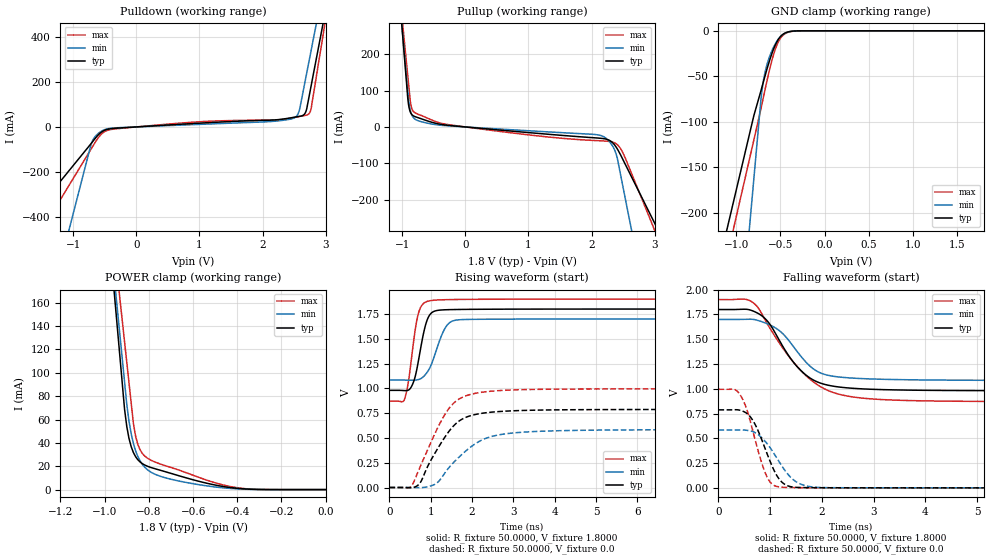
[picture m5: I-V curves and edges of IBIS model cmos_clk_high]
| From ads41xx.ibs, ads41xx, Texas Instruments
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|   Model cmos_clk_high
[Model]   cmos_clk_high
Model_type 3-state
Polarity   Non-Inverting
Enable   Active-High
Vmeas=0.9
C_comp   2.0750pF   1.9000pF   2.2500pF
[Temperature Range]   25.0000   0.1250k   -40.0000
[Voltage Range]   1.8000V   1.7000V   1.9000V
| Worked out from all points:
|   slope of the pulldown table from 0 to 0.27 V, typ, clamps not added: 57.9 ohm
|   slope of the pullup table from 0 to 0.27 V, typ, clamps not added: 62.7 ohm
|   GND clamp passes 1 mA (typ) near -0.40 V on its own axis
|   POWER clamp passes 1 mA (typ) near -0.39 V on its own axis
|   rising waveform, R_fixture 50.0000, V_fixture 1.8000: 20-80 % time 234ps typ, 332ps min, 205ps max; typ from 0.98 V to 1.8 V
|   rising waveform, R_fixture 50.0000, V_fixture 0.0: 20-80 % time 707ps typ, 889ps min, 706ps max; typ from 0 V to 0.788 V
|   falling waveform, R_fixture 50.0000, V_fixture 1.8000: 20-80 % time 666ps typ, 621ps min, 914ps max; typ from 1.8 V to 0.98 V
|   falling waveform, R_fixture 50.0000, V_fixture 0.0: 20-80 % time 375ps typ, 471ps min, 326ps max; typ from 0.787 V to 0 V
[Pulldown]
|Voltage   I(typ)   I(min)   I(max)
-1.8V     -447.9mA   -1.259A    -599.8mA
-720mV    -75.84mA   -82.09mA   -100.5mA
-640mV    -47.62mA   -39.35mA   -63.99mA
-480mV    -12.56mA   -9.991mA   -17.81mA
870mV     14.65mA    9.956mA    20.57mA
2.48V     41.95mA    37.46mA    40.89mA
2.54V     44.81mA    48.15mA    44.31mA
2.58V     46.65mA    71.23mA    46.39mA
2.67V     59.25mA    197.2mA    50.79mA
2.72V     110.6mA    269.2mA    55.5mA
2.77V     183.8mA    341.1mA    82.43mA
3.6V      1.4A       1.535A     1.518A
[Pullup]
|Voltage   I(typ)   I(min)   I(max)
-1.8V     1.985A     1.8A       1.7A
-910mV    78.41mA    98.35mA    140.6mA
-890mV    53.38mA    64.8mA     105.5mA
-860mV    37.57mA    39.26mA    59.46mA
-780mV    27.41mA    19.76mA    37.54mA
-260mV    4.234mA    2.841mA    6.131mA
2.16V     -31.57mA   -24.52mA   -38.3mA
2.28V     -36.75mA   -39.86mA   -39.94mA
2.38V     -53.19mA   -69.91mA   -45.29mA
2.47V     -80.69mA   -141.1mA   -62.92mA
2.55V     -108.6mA   -211.4mA   -92.55mA
3.6V      -474.3mA   -1.134A    -541.5mA
[GND_clamp]
|Voltage   I(typ)   I(min)   I(max)
-1.8V     -504.9mA   -1.25A     -544.4mA
-800mV    -93.26mA   -162.7mA   -120.1mA
-720mV    -66.05mA   -75.75mA   -85.86mA
-710mV    -62.52mA   -66.95mA   -81.33mA
-690mV    -55.42mA   -53.64mA   -72.21mA
-670mV    -48.38mA   -43.99mA   -63.13mA
-620mV    -31.88mA   -27.59mA   -41.68mA
-560mV    -16.06mA   -14.66mA   -20.84mA
-500mV    -6.385mA   -6.497mA   -8.199mA
-450mV    -2.54mA    -2.796mA   -3.339mA
-270mV    -23.71uA   -42.25uA   -40.76uA
1.8V      5.785nA    96.42nA    1.725nA
[POWER_clamp]
|Voltage   I(typ)   I(min)   I(max)
-1.8V     1.973A     1.793A     1.681A
-1.07V    411.1mA    397.9mA    406mA
-910mV    68.83mA    92.21mA    126.6mA
-900mV    54.09mA    73.1mA     109.1mA
-890mV    43.87mA    58.68mA    91.62mA
-870mV    31.74mA    39.51mA    56.69mA
-860mV    28.17mA    33.2mA     45.72mA
-840mV    23.7mA     24.62mA    34.17mA
-810mV    20.28mA    17.58mA    27.37mA
-690mV    13.32mA    8.432mA    18.33mA
-420mV    1.498mA    832.7uA    2.21mA
0V        5.785nA    -260.3nA   2.441nA
[Ramp]
| variable   typ   min   max
dV/dt_r  0.4726/0.7069n   0.3503/0.8885n   0.5970/0.7059n
dV/dt_f  0.4921/0.6662n   0.3700/0.6207n   0.6176/0.9143n
R_load = 50.0000
[Rising Waveform]
R_fixture= 50.0000
V_fixture= 1.8000
V_fixture_min= 1.7000
V_fixture_max= 1.9000
|time   V(typ)   V(min)   V(max)
0s        979.9mV    1.084V     870.8mV
360ps     977.8mV    1.083V     885.7mV
450ps     981.2mV    1.083V     1.047V
540ps     1.024V     1.083V     1.326V
720ps     1.323V     1.091V     1.782V
870ps     1.634V     1.139V     1.869V
990ps     1.75V      1.219V     1.885V
1.35ns    1.793V     1.61V      1.894V
1.68ns    1.796V     1.692V     1.897V
14.99ns   1.8V       1.7V       1.9V
[Rising Waveform]
R_fixture= 50.0000
V_fixture= 0.0
V_fixture_min= 0.0
V_fixture_max= 0.0
|time   V(typ)   V(min)   V(max)
0s        764nV      32.99uV    2.877nV
525ps     -2.074mV   -97.14uV   11.57mV
750ps     52.05mV    -985.2uV   216.1mV
1.095ns   342.6mV    31.72mV    539.3mV
1.425ns   558mV      193.2mV    788.6mV
1.74ns    685.3mV    328.7mV    905mV
2.175ns   744.3mV    465.8mV    957.1mV
2.82ns    770.4mV    542.1mV    981.1mV
4.155ns   783.6mV    573.4mV    992.3mV
14.99ns   787.6mV    583.9mV    995.1mV
[Falling Waveform]
R_fixture= 50.0000
V_fixture= 1.8000
V_fixture_min= 1.7000
V_fixture_max= 1.9000
|time   V(typ)   V(min)   V(max)
0s        1.8V       1.7V       1.9V
660ps     1.787V     1.701V     1.872V
930ps     1.693V     1.659V     1.669V
1.185ns   1.481V     1.583V     1.456V
1.44ns    1.275V     1.432V     1.274V
1.695ns   1.137V     1.267V     1.131V
2.04ns    1.046V     1.147V     1.002V
2.655ns   1.003V     1.106V     913.6mV
4.755ns   982.1mV    1.086V     873.7mV
14.99ns   979.8mV    1.083V     870.7mV
[Falling Waveform]
R_fixture= 50.0000
V_fixture= 0.0
V_fixture_min= 0.0
V_fixture_max= 0.0
|time   V(typ)   V(min)   V(max)
0s        787.3mV    583.9mV    994.8mV
360ps     788.2mV    584.5mV    976.6mV
495ps     768.2mV    583.7mV    863.5mV
600ps     726.3mV    576.6mV    699.8mV
735ps     612.1mV    548.6mV    433.8mV
930ps     358mV      452.6mV    120.3mV
1.185ns   81.17mV    253.6mV    8.904mV
1.515ns   4.654mV    57.04mV    2.276mV
1.98ns    1.386mV    3.477mV    800.3uV
14.99ns   653nV      33.01uV    -45.91nV
